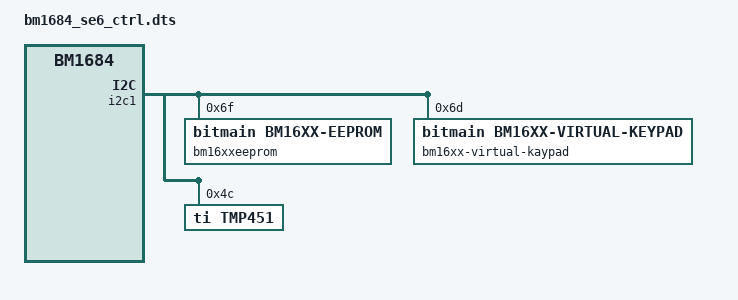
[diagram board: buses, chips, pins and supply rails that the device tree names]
#include "bm1684.dtsi"
#include "bm1684_mm_12g.dtsi"
#include "bm1684_sm5_rb.dtsi"

/{
	/delete-node/ bitmain-ion; // delete ion
	/delete-node/ bmtpu; // delete tpu
	/delete-node/ vpp@50070000; // delete vpp
	/delete-node/ jpu@50030000; // delete jpu
	/delete-node/ vpu@50050000; // delete vpu
	info {
		file-name = "bm1684_se6_ctrl.dtb";
	};
};

/delete-node/ &ion_for_npu; // delete npu
/delete-node/ &ion_for_vpp; // delete vpp
/delete-node/ &ion_for_vpu; // delete vpu
/delete-node/ &vpu_reserved; // delete vpu_reserved

&i2c1 {
	bm16xxeeprom@6f {
	    compatible = "bitmain,bm16xx-eeprom";
	    reg = <0x6f>;
	    size = <256>;

	    #address-cells = <1>;
	    #size-cells = <1>;

	    se6_sn: sn@0000 {
		    reg = <0x0000 17>;
	    };

	    se6ctrl_sn: sn@0020 {
		    reg = <0x0020 17>;
	    };
	};

	bm16xx-virtual-kaypad@6d {
		compatible = "bitmain,bm16xx-virtual-keypad";
		reg = <0x6d>;
		keypad,num-rows = <1>;
		keypad,num-columns = <8>;
		linux,keymap =
			<
			MATRIX_KEY(0x00, 0x00, KEY_POWER)
			MATRIX_KEY(0x00, 0x01, KEY_RESTART)
			MATRIX_KEY(0x00, 0x02, KEY_FN_F1)
			MATRIX_KEY(0x00, 0x03, BTN_3)
			MATRIX_KEY(0x00, 0x04, BTN_4)
			MATRIX_KEY(0x00, 0x05, BTN_5)
			MATRIX_KEY(0x00, 0x06, BTN_6)
			MATRIX_KEY(0x00, 0x07, BTN_7)
			>;
	};
};

&pwm{
	pinctrl-names = "default";
	pinctrl-0 = <&pwm0_acquire>;

};

&pwmfan {
	status = "disabled";
};

&i2c1 {
	/delete-node/ tmp451@6b;

	tmp451: tmp451@4c {
		compatible = "ti,tmp451";
		reg = <0x4c>;
		#thermal-sensor-cells = <1>;
	};
};

&thermal_zones {
	soc {
		trips {
			/delete-node/ soc_pwmfan_trip@0;
			/delete-node/ soc_pwmfan_trip@1;
			/delete-node/ soc_pwmfan_trip@2;
			/delete-node/ soc_pwmfan_trip@3;
			/delete-node/ soc_pwmfan_trip@4;
		};

		cooling-maps {
			/delete-node/ map3;
			/delete-node/ map4;
			/delete-node/ map5;
			/delete-node/ map6;
			/delete-node/ map7;
		};
	};
};

&pcie0 {
	pcie_irq_enable;
};
